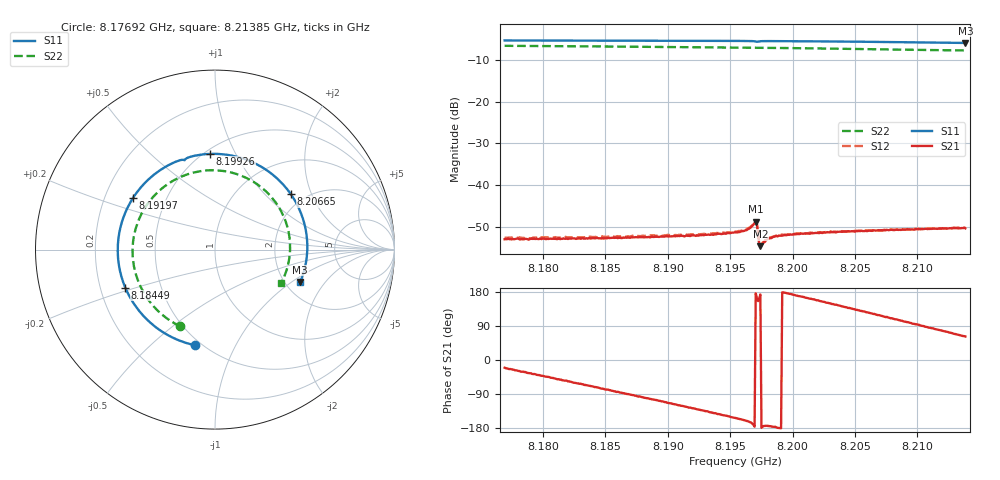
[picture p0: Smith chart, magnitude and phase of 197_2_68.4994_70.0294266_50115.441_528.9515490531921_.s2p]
#  HZ  S  RI  R  50.00
! Rohde & Schwarz Vector Network Analyzer
! Rohde-Schwarz,ZNB20-2Port,1311601062101988,3.16
! Created: UTC 3/20/2024, 4:57:22 PM
! freq[Hz]  re:S11  im:S11  re:S21  im:S21  re:S12  im:S12  re:S22  im:S22
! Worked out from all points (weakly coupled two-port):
!   401 points, 8.17692 GHz to 8.21385 GHz, reference 50 ohm
!   highest |S21| = -48.84 dB at 8.19705 GHz (marker M1); lowest = -54.7 dB at 8.19742 GHz (marker M2)
!   lowest |S11| = -5.9 dB at 8.21385 GHz (marker M3), VSWR 3.07, Z = 120 - j58.6 ohm
!   |S11| at or under -10 dB: nowhere
!   |S22| runs from -7.7 to -6.6 dB; largest |S21 - S12| = 0.00018
!   S11 on the Smith chart (normalised r, x): 8.17692 GHz: 0.46, -0.70; 8.18449 GHz: 0.31, -0.18; 8.19197 GHz: 0.32, +0.26; 8.19926 GHz: 0.53, +0.80; 8.20665 GHz: 1.69, +1.44; 8.21385 GHz: 2.40, -1.17
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8.176917e9  -0.1114 -0.5328  0.00209 -0.000774  0.00215 -0.000839  -0.1942 -0.4274
8.179872e9  -0.2984 -0.4548  0.00167 -0.00149  0.00175 -0.00157  -0.3285 -0.3306
8.183104e9  -0.4548 -0.2968  0.00101 -0.00205  0.000991 -0.00213  -0.4263 -0.1802
8.184489e9  -0.4998 -0.2118  0.000654 -0.00219  0.000606 -0.00229  -0.4488 -0.1066
8.18689e9  -0.5399 -0.0498  -2.01e-05 -0.00232  -5.01e-05 -0.0024  -0.4581 0.0258
8.189291e9  -0.5283 0.1171  -0.000726 -0.00226  -0.000789 -0.00235  -0.429 0.1554
8.191968e9  -0.4559 0.2892  -0.0015 -0.00196  -0.00158 -0.00199  -0.3537 0.2828
8.195385e9  -0.285 0.4558  -0.00239 -0.00125  -0.00248 -0.00115  -0.2045 0.3991
8.196308e9  -0.2264 0.4862  -0.0027 -0.00094  -0.00284 -0.000854  -0.1564 0.4185
8.196955e9  -0.1799 0.5004  -0.00349 -0.00025  -0.00358 -0.000123  -0.1215 0.4289
8.197047e9  -0.1732 0.4995  -0.00361 0.000246  -0.00366 0.000414  -0.1163 0.43
8.197417e9  -0.1595 0.5081  -0.00183 0.000223  -0.00185 0.000263  -0.0964 0.4345
8.197509e9  -0.1529 0.5114  -0.00187 -3.11e-05  -0.00192 7.9e-05  -0.0912 0.4353
8.198063e9  -0.1131 0.523  -0.00224 -0.000242  -0.00231 -0.000139  -0.0603 0.4399
8.199263e9  -0.0281 0.5333  -0.00248 7.74e-05  -0.00251 0.000149  0.00769 0.4417
8.201572e9  0.1335 0.5142  -0.00248 0.000874  -0.00246 0.000996  0.136 0.4157
8.204065e9  0.2924 0.4393  -0.00214 0.00173  -0.00208 0.00183  0.2602 0.3451
8.206651e9  0.4216 0.3101  -0.00143 0.00245  -0.00136 0.0025  0.3588 0.231
8.207759e9  0.4616 0.2422  -0.00105 0.00267  -0.000985 0.0027  0.3878 0.1723
8.209329e9  0.4998 0.1372  -0.000446 0.00289  -0.000359 0.0029  0.4129 0.0818
8.210806e9  0.514 0.0327  0.000165 0.00295  0.00023 0.00297  0.418 -0.0073
8.213853e9  0.4749 -0.1809  0.00141 0.00266  0.00149 0.00267  0.3684 -0.1872
